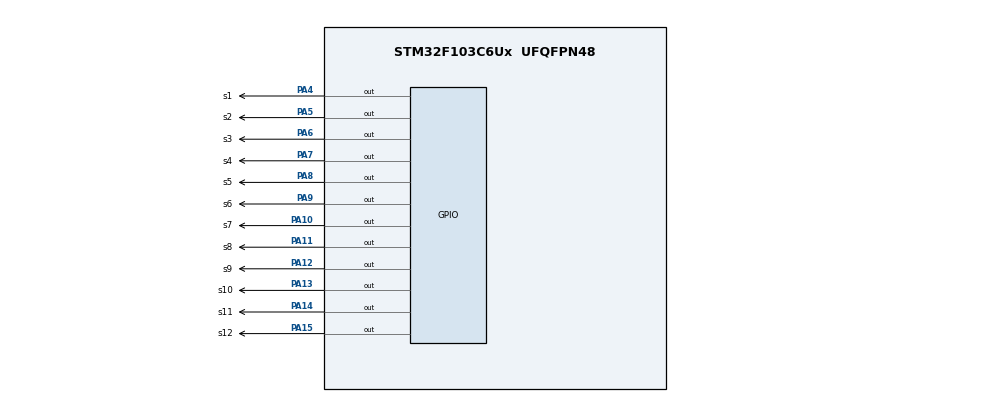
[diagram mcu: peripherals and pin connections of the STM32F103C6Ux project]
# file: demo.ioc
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Mcu.Family=STM32F1
Mcu.Name=STM32F103C6Ux
Mcu.Package=UFQFPN48
NVIC.PriorityGroup=NVIC_PRIORITYGROUP_4
PA10.GPIO_Label=s7
PA10.Signal=GPIO_Output
PA11.GPIO_Label=s8
PA11.Signal=GPIO_Output
PA12.GPIO_Label=s9
PA12.Signal=GPIO_Output
PA13.GPIO_Label=s10
PA13.Signal=GPIO_Output
PA14.GPIO_Label=s11
PA14.Signal=GPIO_Output
PA15.GPIO_Label=s12
PA15.Signal=GPIO_Output
PA4.GPIO_Label=s1
PA4.Signal=GPIO_Output
PA5.GPIO_Label=s2
PA5.Signal=GPIO_Output
PA6.GPIO_Label=s3
PA6.Signal=GPIO_Output
PA7.GPIO_Label=s4
PA7.Signal=GPIO_Output
PA8.GPIO_Label=s5
PA8.Signal=GPIO_Output
PA9.GPIO_Label=s6
PA9.Signal=GPIO_Output
ProjectManager.HeapSize=0x200
ProjectManager.StackSize=0x400
ProjectManager.TargetToolchain=STM32CubeIDE
RCC.APB1Freq_Value=8000000
RCC.APB2Freq_Value=8000000
VP_SYS_VS_ND.Mode=No_Debug
board=custom

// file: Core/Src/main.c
/* USER CODE BEGIN Header */
/**
  ******************************************************************************
  * @file           : main.c
  * @brief          : Main program body
  ******************************************************************************
  * @attention
  *
  * <h2><center>&copy; Copyright (c) 2022 STMicroelectronics.
  * All rights reserved.</center></h2>
  *
  * This software component is licensed by ST under BSD 3-Clause license,
  * the "License"; You may not use this file except in compliance with the
  * License. You may obtain a copy of the License at:
  *                        opensource.org/licenses/BSD-3-Clause
  *
  ******************************************************************************
  */
/* USER CODE END Header */
#include "main.h"

void SystemClock_Config(void);
static void MX_GPIO_Init(void);

/* USER CODE BEGIN 0 */
void clock(int num);
/* USER CODE END 0 */

int main(void)
{

  /* MCU Configuration--------------------------------------------------------*/

  /* Reset of all peripherals, Initializes the Flash interface and the Systick. */
  HAL_Init();

  /* Configure the system clock */
  SystemClock_Config();

  /* Initialize all configured peripherals */
  MX_GPIO_Init();

  /* Infinite loop */
  /* USER CODE BEGIN WHILE */
  int second = 12;
  while (1)
  {
    /* USER CODE END WHILE */

    /* USER CODE BEGIN 3 */
	  /*Turn off all led when the program start*/
	  HAL_GPIO_WritePin(s1_GPIO_Port, s1_Pin, SET);
	  HAL_GPIO_WritePin(s2_GPIO_Port, s2_Pin, SET);
	  HAL_GPIO_WritePin(s3_GPIO_Port, s3_Pin, SET);
	  HAL_GPIO_WritePin(s4_GPIO_Port, s4_Pin, SET);
	  HAL_GPIO_WritePin(s5_GPIO_Port, s5_Pin, SET);
	  HAL_GPIO_WritePin(s6_GPIO_Port, s6_Pin, SET);
	  HAL_GPIO_WritePin(s7_GPIO_Port, s7_Pin, SET);
	  HAL_GPIO_WritePin(s8_GPIO_Port, s8_Pin, SET);
	  HAL_GPIO_WritePin(s9_GPIO_Port, s9_Pin, SET);
	  HAL_GPIO_WritePin(s10_GPIO_Port, s10_Pin, SET);
	  HAL_GPIO_WritePin(s11_GPIO_Port, s11_Pin, SET);
	  HAL_GPIO_WritePin(s12_GPIO_Port, s12_Pin, SET);
	  second++;
	  if (second > 12) second = 1;
	  clock(second); /*Turn on second-th led*/
	  HAL_Delay(1000);
  }
  /* USER CODE END 3 */
}

void SystemClock_Config(void)
{
  RCC_OscInitTypeDef RCC_OscInitStruct = {0};
  RCC_ClkInitTypeDef RCC_ClkInitStruct = {0};

  /** Initializes the RCC Oscillators according to the specified parameters
  * in the RCC_OscInitTypeDef structure.
  */
  RCC_OscInitStruct.OscillatorType = RCC_OSCILLATORTYPE_HSI;
  RCC_OscInitStruct.HSIState = RCC_HSI_ON;
  RCC_OscInitStruct.HSICalibrationValue = RCC_HSICALIBRATION_DEFAULT;
  RCC_OscInitStruct.PLL.PLLState = RCC_PLL_NONE;
  if (HAL_RCC_OscConfig(&RCC_OscInitStruct) != HAL_OK)
  {
    Error_Handler();
  }
  /** Initializes the CPU, AHB and APB buses clocks
  */
  RCC_ClkInitStruct.ClockType = RCC_CLOCKTYPE_HCLK|RCC_CLOCKTYPE_SYSCLK
                              |RCC_CLOCKTYPE_PCLK1|RCC_CLOCKTYPE_PCLK2;
  RCC_ClkInitStruct.SYSCLKSource = RCC_SYSCLKSOURCE_HSI;
  RCC_ClkInitStruct.AHBCLKDivider = RCC_SYSCLK_DIV1;
  RCC_ClkInitStruct.APB1CLKDivider = RCC_HCLK_DIV1;
  RCC_ClkInitStruct.APB2CLKDivider = RCC_HCLK_DIV1;

  if (HAL_RCC_ClockConfig(&RCC_ClkInitStruct, FLASH_LATENCY_0) != HAL_OK)
  {
    Error_Handler();
  }
}

static void MX_GPIO_Init(void)
{
  GPIO_InitTypeDef GPIO_InitStruct = {0};

  /* GPIO Ports Clock Enable */
  __HAL_RCC_GPIOA_CLK_ENABLE();

  /*Configure GPIO pin Output Level */
  HAL_GPIO_WritePin(GPIOA, s1_Pin|s2_Pin|s3_Pin|s4_Pin
                          |s5_Pin|s6_Pin|s7_Pin|s8_Pin
                          |s9_Pin|s10_Pin|s11_Pin|s12_Pin, GPIO_PIN_RESET);

  /*Configure GPIO pins : s1_Pin s2_Pin s3_Pin s4_Pin
                           s5_Pin s6_Pin s7_Pin s8_Pin
                           s9_Pin s10_Pin s11_Pin s12_Pin */
  GPIO_InitStruct.Pin = s1_Pin|s2_Pin|s3_Pin|s4_Pin
                          |s5_Pin|s6_Pin|s7_Pin|s8_Pin
                          |s9_Pin|s10_Pin|s11_Pin|s12_Pin;
  GPIO_InitStruct.Mode = GPIO_MODE_OUTPUT_PP;
  GPIO_InitStruct.Pull = GPIO_NOPULL;
  GPIO_InitStruct.Speed = GPIO_SPEED_FREQ_LOW;
  HAL_GPIO_Init(GPIOA, &GPIO_InitStruct);

}

/* USER CODE BEGIN 4 */
void clock (int num){
	switch (num) {
	case 0:
			HAL_GPIO_WritePin(s2_GPIO_Port, s2_Pin, RESET); /*Turn on 2th Led*/
			break;
	case 12:
		HAL_GPIO_WritePin(s2_GPIO_Port, s2_Pin, RESET); /*Turn on 2th Led*/
		break;
	case 1:
			HAL_GPIO_WritePin(s3_GPIO_Port, s3_Pin, RESET); /*Turn on 3th Led*/
			break;
	case 2:
			HAL_GPIO_WritePin(s4_GPIO_Port, s4_Pin, RESET); /*Turn on 4th Led*/
			break;
	case 3:
			HAL_GPIO_WritePin(s5_GPIO_Port, s5_Pin, RESET); /*Turn on 5th Led*/
			break;
	case 4:
			HAL_GPIO_WritePin(s6_GPIO_Port, s6_Pin, RESET); /*Turn on 6th Led*/
			break;
	case 5:
			HAL_GPIO_WritePin(s7_GPIO_Port, s7_Pin, RESET); /*Turn on 7th Led*/
			break;
	case 6:
			HAL_GPIO_WritePin(s8_GPIO_Port, s8_Pin, RESET); /*Turn on 8th Led*/
			break;
	case 7:
			HAL_GPIO_WritePin(s9_GPIO_Port, s9_Pin, RESET); /*Turn on 9th Led*/
			break;
	case 8:
			HAL_GPIO_WritePin(s10_GPIO_Port, s10_Pin, RESET); /*Turn on 10th Led*/
			break;
	case 9:
			HAL_GPIO_WritePin(s11_GPIO_Port, s11_Pin, RESET); /*Turn on 11th Led*/
			break;
	case 10:
			HAL_GPIO_WritePin(s12_GPIO_Port, s12_Pin, RESET); /*Turn on 12th Led*/
			break;
	case 11:
			HAL_GPIO_WritePin(s1_GPIO_Port, s1_Pin, RESET); /*Turn on 1th Led*/
			break;
	}
}
/* USER CODE END 4 */

void Error_Handler(void)
{
  __disable_irq();
  while (1)
  {
  }
}

/************************ (C) COPYRIGHT STMicroelectronics *****END OF FILE****/
